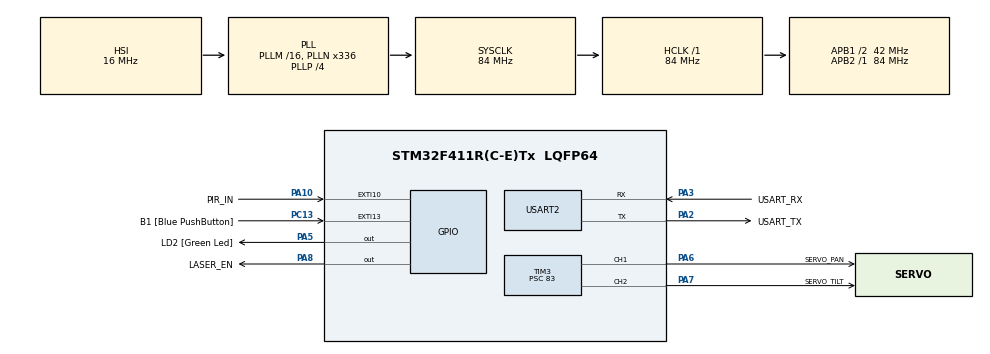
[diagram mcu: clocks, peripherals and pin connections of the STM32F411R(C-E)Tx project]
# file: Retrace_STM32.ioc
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Mcu.Family=STM32F4
Mcu.Name=STM32F411R(C-E)Tx
Mcu.Package=LQFP64
NVIC.EXTI15_10_IRQn=true\:0\:0\:false\:false\:true\:true\:true\:true
NVIC.PriorityGroup=NVIC_PRIORITYGROUP_0
NVIC.USART2_IRQn=true\:0\:0\:false\:false\:true\:true\:true\:true
PA10.GPIO_Label=PIR_IN
PA10.GPIO_ModeDefaultEXTI=GPIO_MODE_IT_RISING_FALLING
PA10.GPIO_PuPd=GPIO_PULLDOWN
PA10.Signal=GPXTI10
PA13.GPIO_Label=TMS
PA13.Mode=Serial_Wire
PA13.Signal=SYS_JTMS-SWDIO
PA14.GPIO_Label=TCK
PA14.Mode=Serial_Wire
PA14.Signal=SYS_JTCK-SWCLK
PA2.GPIO_Label=USART_TX
PA2.Mode=Asynchronous
PA2.Signal=USART2_TX
PA3.GPIO_Label=USART_RX
PA3.Mode=Asynchronous
PA3.Signal=USART2_RX
PA5.GPIO_Label=LD2 [Green Led]
PA5.Signal=GPIO_Output
PA6.GPIO_Label=SERVO_PAN
PA6.Signal=S_TIM3_CH1
PA7.GPIO_Label=SERVO_TILT
PA7.Signal=S_TIM3_CH2
PA8.GPIO_Label=LASER_EN
PA8.Signal=GPIO_Output
PB3.GPIO_Label=SWO
PB3.Signal=SYS_JTDO-SWO
PC13-ANTI_TAMP.GPIO_Label=B1 [Blue PushButton]
PC13-ANTI_TAMP.GPIO_ModeDefaultEXTI=GPIO_MODE_IT_FALLING
PC13-ANTI_TAMP.Signal=GPXTI13
PC14-OSC32_IN.Mode=LSE-External-Oscillator
PC14-OSC32_IN.Signal=RCC_OSC32_IN
PC15-OSC32_OUT.Mode=LSE-External-Oscillator
PC15-OSC32_OUT.Signal=RCC_OSC32_OUT
PH0\ -\ OSC_IN.Mode=HSE-External-Clock-Source
PH0\ -\ OSC_IN.Signal=RCC_OSC_IN
PH1\ -\ OSC_OUT.Mode=HSE-External-Clock-Source
PH1\ -\ OSC_OUT.Signal=RCC_OSC_OUT
ProjectManager.HeapSize=0x200
ProjectManager.StackSize=0x400
ProjectManager.TargetToolchain=CMake
RCC.48MHZClocksFreq_Value=84000000
RCC.AHBFreq_Value=84000000
RCC.APB1CLKDivider=RCC_HCLK_DIV2
RCC.APB1Freq_Value=42000000
RCC.APB1TimFreq_Value=84000000
RCC.APB2Freq_Value=84000000
RCC.APB2TimFreq_Value=84000000
RCC.CortexFreq_Value=84000000
RCC.FLatency-AdvancedSettings=FLASH_LATENCY_2
RCC.HCLKFreq_Value=84000000
RCC.HSE_VALUE=8000000
RCC.HSI_VALUE=16000000
RCC.PLLN=336
RCC.PLLP=RCC_PLLP_DIV4
RCC.SYSCLKFreq_VALUE=84000000
RCC.SYSCLKSource=RCC_SYSCLKSOURCE_PLLCLK
RCC.VCOOutputFreq_Value=336000000
SH.S_TIM3_CH1.0=TIM3_CH1,PWM Generation1 CH1
SH.S_TIM3_CH2.0=TIM3_CH2,PWM Generation2 CH2
TIM3.AutoReloadPreload=TIM_AUTORELOAD_PRELOAD_ENABLE
TIM3.Channel-PWM\ Generation1\ CH1=TIM_CHANNEL_1
TIM3.Channel-PWM\ Generation2\ CH2=TIM_CHANNEL_2
TIM3.Period=19999
TIM3.Prescaler=83
TIM3.Pulse-PWM\ Generation1\ CH1=1500
TIM3.Pulse-PWM\ Generation2\ CH2=1500
USART2.VirtualMode=VM_ASYNC
VP_TIM3_VS_ClockSourceINT.Mode=Internal
board=NUCLEO-F411RE

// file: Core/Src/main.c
/* USER CODE BEGIN Header */
/**
  ******************************************************************************
  * @file           : main.c
  * @brief          : Main program body
  ******************************************************************************
  * @attention
  *
  * Copyright (c) 2026 STMicroelectronics.
  * All rights reserved.
  *
  * This software is licensed under terms that can be found in the LICENSE file
  * in the root directory of this software component.
  * If no LICENSE file comes with this software, it is provided AS-IS.
  *
  ******************************************************************************
  */
/* USER CODE END Header */
#include "main.h"

/* USER CODE BEGIN Includes */
#include "serial_cmd.h"
#include "cmd_parser.h"
#include "pan_tilt.h"
#include "laser.h"
#include "pir_sensor.h"
/* USER CODE END Includes */

/* USER CODE BEGIN PD */
#define JETSON_UART  (&huart2)    /* Jetson 통신: USART2 = ST-LINK VCP (protocol.md 2장) */
/* USER CODE END PD */

TIM_HandleTypeDef htim3;

UART_HandleTypeDef huart2;

void SystemClock_Config(void);
static void MX_GPIO_Init(void);
static void MX_USART2_UART_Init(void);
static void MX_TIM3_Init(void);
/* USER CODE BEGIN PFP */
static void handle_line(const char *line);
/* USER CODE END PFP */

int main(void)
{

  /* MCU Configuration--------------------------------------------------------*/

  /* Reset of all peripherals, Initializes the Flash interface and the Systick. */
  HAL_Init();

  /* Configure the system clock */
  SystemClock_Config();

  /* Initialize all configured peripherals */
  MX_GPIO_Init();
  MX_USART2_UART_Init();
  MX_TIM3_Init();
  /* USER CODE BEGIN 2 */
  laser_off();
  pan_tilt_init(&htim3);
  pir_sensor_init();
  serial_cmd_init(JETSON_UART);
  /* USER CODE END 2 */

  /* Infinite loop */
  while (1)
  {

    /* USER CODE BEGIN 3 */
    /* 1) Jetson 명령 처리 */
    char line[SERIAL_LINE_MAX];
    SerialLineStatus status = serial_cmd_read_line(JETSON_UART, line);
    if (status == SERIAL_LINE_OK) {
      handle_line(line);
    } else if (status == SERIAL_LINE_TOO_LONG) {
      serial_cmd_send(JETSON_UART, "ERR@UNKNOWN");
    }

    /* 2) PIR 상태가 바뀌면 이벤트 전송 */
    int motion;
    if (pir_sensor_poll(&motion)) {
      serial_cmd_send(JETSON_UART, motion ? "EVT@PIR:1" : "EVT@PIR:0");
    }
  }
  /* USER CODE END 3 */
}

void SystemClock_Config(void)
{
  RCC_OscInitTypeDef RCC_OscInitStruct = {0};
  RCC_ClkInitTypeDef RCC_ClkInitStruct = {0};

  /** Configure the main internal regulator output voltage
  */
  __HAL_RCC_PWR_CLK_ENABLE();
  __HAL_PWR_VOLTAGESCALING_CONFIG(PWR_REGULATOR_VOLTAGE_SCALE1);

  /** Initializes the RCC Oscillators according to the specified parameters
  * in the RCC_OscInitTypeDef structure.
  */
  RCC_OscInitStruct.OscillatorType = RCC_OSCILLATORTYPE_HSI;
  RCC_OscInitStruct.HSIState = RCC_HSI_ON;
  RCC_OscInitStruct.HSICalibrationValue = RCC_HSICALIBRATION_DEFAULT;
  RCC_OscInitStruct.PLL.PLLState = RCC_PLL_ON;
  RCC_OscInitStruct.PLL.PLLSource = RCC_PLLSOURCE_HSI;
  RCC_OscInitStruct.PLL.PLLM = 16;
  RCC_OscInitStruct.PLL.PLLN = 336;
  RCC_OscInitStruct.PLL.PLLP = RCC_PLLP_DIV4;
  RCC_OscInitStruct.PLL.PLLQ = 4;
  if (HAL_RCC_OscConfig(&RCC_OscInitStruct) != HAL_OK)
  {
    Error_Handler();
  }

  /** Initializes the CPU, AHB and APB buses clocks
  */
  RCC_ClkInitStruct.ClockType = RCC_CLOCKTYPE_HCLK|RCC_CLOCKTYPE_SYSCLK
                              |RCC_CLOCKTYPE_PCLK1|RCC_CLOCKTYPE_PCLK2;
  RCC_ClkInitStruct.SYSCLKSource = RCC_SYSCLKSOURCE_PLLCLK;
  RCC_ClkInitStruct.AHBCLKDivider = RCC_SYSCLK_DIV1;
  RCC_ClkInitStruct.APB1CLKDivider = RCC_HCLK_DIV2;
  RCC_ClkInitStruct.APB2CLKDivider = RCC_HCLK_DIV1;

  if (HAL_RCC_ClockConfig(&RCC_ClkInitStruct, FLASH_LATENCY_2) != HAL_OK)
  {
    Error_Handler();
  }
}

static void MX_TIM3_Init(void)
{

  TIM_ClockConfigTypeDef sClockSourceConfig = {0};
  TIM_MasterConfigTypeDef sMasterConfig = {0};
  TIM_OC_InitTypeDef sConfigOC = {0};

  htim3.Instance = TIM3;
  htim3.Init.Prescaler = 83;
  htim3.Init.CounterMode = TIM_COUNTERMODE_UP;
  htim3.Init.Period = 19999;
  htim3.Init.ClockDivision = TIM_CLOCKDIVISION_DIV1;
  htim3.Init.AutoReloadPreload = TIM_AUTORELOAD_PRELOAD_ENABLE;
  if (HAL_TIM_Base_Init(&htim3) != HAL_OK)
  {
    Error_Handler();
  }
  sClockSourceConfig.ClockSource = TIM_CLOCKSOURCE_INTERNAL;
  if (HAL_TIM_ConfigClockSource(&htim3, &sClockSourceConfig) != HAL_OK)
  {
    Error_Handler();
  }
  if (HAL_TIM_PWM_Init(&htim3) != HAL_OK)
  {
    Error_Handler();
  }
  sMasterConfig.MasterOutputTrigger = TIM_TRGO_RESET;
  sMasterConfig.MasterSlaveMode = TIM_MASTERSLAVEMODE_DISABLE;
  if (HAL_TIMEx_MasterConfigSynchronization(&htim3, &sMasterConfig) != HAL_OK)
  {
    Error_Handler();
  }
  sConfigOC.OCMode = TIM_OCMODE_PWM1;
  sConfigOC.Pulse = 1500;
  sConfigOC.OCPolarity = TIM_OCPOLARITY_HIGH;
  sConfigOC.OCFastMode = TIM_OCFAST_DISABLE;
  if (HAL_TIM_PWM_ConfigChannel(&htim3, &sConfigOC, TIM_CHANNEL_1) != HAL_OK)
  {
    Error_Handler();
  }
  if (HAL_TIM_PWM_ConfigChannel(&htim3, &sConfigOC, TIM_CHANNEL_2) != HAL_OK)
  {
    Error_Handler();
  }
  HAL_TIM_MspPostInit(&htim3);

}

static void MX_USART2_UART_Init(void)
{

  huart2.Instance = USART2;
  huart2.Init.BaudRate = 115200;
  huart2.Init.WordLength = UART_WORDLENGTH_8B;
  huart2.Init.StopBits = UART_STOPBITS_1;
  huart2.Init.Parity = UART_PARITY_NONE;
  huart2.Init.Mode = UART_MODE_TX_RX;
  huart2.Init.HwFlowCtl = UART_HWCONTROL_NONE;
  huart2.Init.OverSampling = UART_OVERSAMPLING_16;
  if (HAL_UART_Init(&huart2) != HAL_OK)
  {
    Error_Handler();
  }

}

static void MX_GPIO_Init(void)
{
  GPIO_InitTypeDef GPIO_InitStruct = {0};

  /* GPIO Ports Clock Enable */
  __HAL_RCC_GPIOC_CLK_ENABLE();
  __HAL_RCC_GPIOH_CLK_ENABLE();
  __HAL_RCC_GPIOA_CLK_ENABLE();
  __HAL_RCC_GPIOB_CLK_ENABLE();

  /*Configure GPIO pin Output Level */
  HAL_GPIO_WritePin(GPIOA, LD2_Pin|LASER_EN_Pin, GPIO_PIN_RESET);

  /*Configure GPIO pin : B1_Pin */
  GPIO_InitStruct.Pin = B1_Pin;
  GPIO_InitStruct.Mode = GPIO_MODE_IT_FALLING;
  GPIO_InitStruct.Pull = GPIO_NOPULL;
  HAL_GPIO_Init(B1_GPIO_Port, &GPIO_InitStruct);

  /*Configure GPIO pins : LD2_Pin LASER_EN_Pin */
  GPIO_InitStruct.Pin = LD2_Pin|LASER_EN_Pin;
  GPIO_InitStruct.Mode = GPIO_MODE_OUTPUT_PP;
  GPIO_InitStruct.Pull = GPIO_NOPULL;
  GPIO_InitStruct.Speed = GPIO_SPEED_FREQ_LOW;
  HAL_GPIO_Init(GPIOA, &GPIO_InitStruct);

  /*Configure GPIO pin : PIR_IN_Pin */
  GPIO_InitStruct.Pin = PIR_IN_Pin;
  GPIO_InitStruct.Mode = GPIO_MODE_IT_RISING_FALLING;
  GPIO_InitStruct.Pull = GPIO_PULLDOWN;
  HAL_GPIO_Init(PIR_IN_GPIO_Port, &GPIO_InitStruct);

  /* EXTI interrupt init*/
  HAL_NVIC_SetPriority(EXTI15_10_IRQn, 0, 0);
  HAL_NVIC_EnableIRQ(EXTI15_10_IRQn);

}

/* USER CODE BEGIN 4 */
/* 받은 한 줄을 해석 → 실행 → OK / ERR 응답 */
static void handle_line(const char *line)
{
  Command cmd = {0};
  char reply[SERIAL_LINE_MAX];
  ParseResult result = cmd_parse(line, &cmd);

  if (result == PARSE_OK) {
    switch (cmd.type) {
      case CMD_PING:
        break;
      case CMD_AIM:
        pan_tilt_set(cmd.pan, cmd.tilt);
        break;
      case CMD_LASER:
        if (cmd.laser_on) {
          laser_on();
        } else {
          laser_off();
        }
        break;
      case CMD_HOME:
        pan_tilt_home();
        laser_off();
        break;
    }
  }

  cmd_make_reply(result, &cmd, reply, sizeof(reply));
  serial_cmd_send(JETSON_UART, reply);
}

/* EXTI 인터럽트 콜백. PA10(PIR)과 PC13(B1)이 EXTI15_10을 같이 쓰므로 핀으로 구분 (pinmap.md 2-3) */
void HAL_GPIO_EXTI_Callback(uint16_t GPIO_Pin)
{
  if (GPIO_Pin == PIR_IN_Pin) {
    pir_sensor_on_exti();
  }
}
/* USER CODE END 4 */

void Error_Handler(void)
{
  __disable_irq();
  while (1)
  {
  }
}
